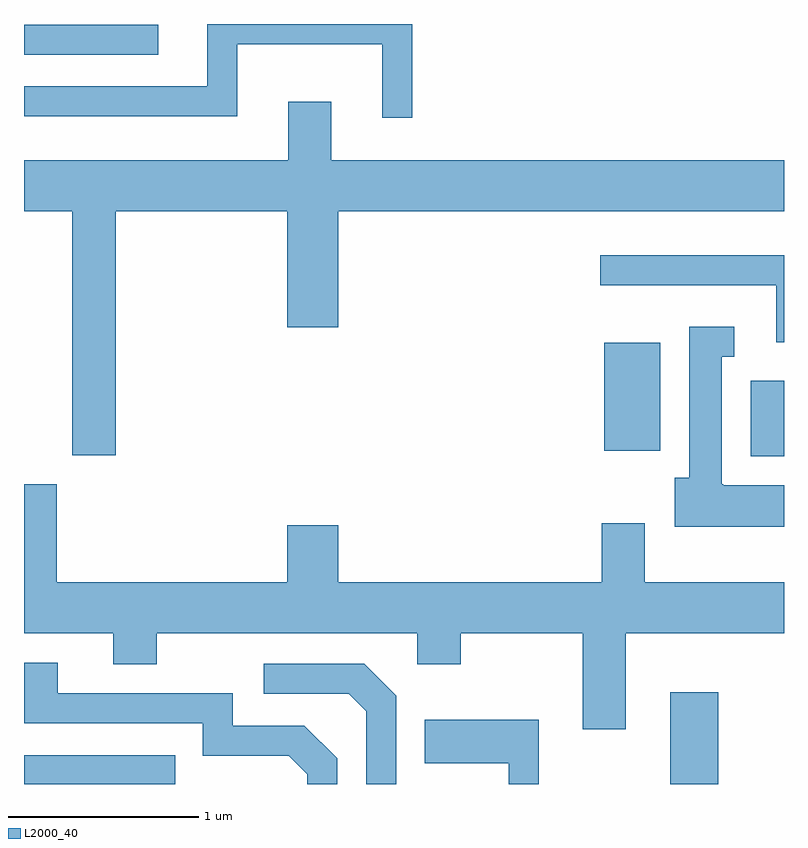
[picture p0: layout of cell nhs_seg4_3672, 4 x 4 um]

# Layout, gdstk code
import gdstk
lib = gdstk.Library(unit=1e-6, precision=1e-09)
def R(c, l, rs):  # rectangles x0, y0, x1, y1
    for r in rs: c.add(gdstk.rectangle(r[:2], r[2:], *l))
def P(c, l, *ps):  # polygons
    for p in ps: c.add(gdstk.Polygon(p, *l))
L2000_40 = (2000, 40)

nhs_seg4_3672 = lib.new_cell('nhs_seg4_3672')
R(nhs_seg4_3672, L2000_40, [(293.611,1253.982,294.408,1254.134), (297.011,1253.982,297.264,1254.464), (297.436,1255.706,297.611,1256.104), (296.666,1255.736,296.959,1256.304), (293.611,1257.821,294.318,1257.979)])
P(nhs_seg4_3672, L2000_40, [(295.654,1257.982),(294.576,1257.982),(294.576,1257.654),(293.613,1257.654),(293.613,1257.496),(294.734,1257.496),(294.734,1257.876),(295.496,1257.876),(295.496,1257.488),(295.654,1257.488)],
  [(294.094,1256.996),(294.996,1256.996),(294.996,1256.386),(295.264,1256.386),(295.264,1256.996),(297.611,1256.996),(297.611,1257.264),(295.229,1257.264),(295.229,1257.574),(295.001,1257.574),(295.001,1257.264),(293.611,1257.264),(293.611,1256.996),(293.866,1256.996),(293.866,1255.711),(294.094,1255.711)],
  [(297.611,1256.764),(296.643,1256.764),(296.643,1256.606),(297.571,1256.606),(297.571,1256.306),(297.611,1256.306)],
  [(297.611,1255.554),(297.29,1255.554),(297.29,1255.56),(297.284,1255.56),(297.284,1256.231),(297.348,1256.231),(297.348,1256.389),(297.111,1256.389),(297.111,1255.594),(297.036,1255.594),(297.036,1255.336),(297.611,1255.336)],
  [(296.779,1254.776),(297.611,1254.776),(297.611,1255.044),(296.879,1255.044),(296.879,1255.354),(296.651,1255.354),(296.651,1255.044),(295.264,1255.044),(295.264,1255.344),(294.996,1255.344),(294.996,1255.044),(293.784,1255.044),(293.784,1255.559),(293.611,1255.559),(293.611,1254.776),(294.081,1254.776),(294.081,1254.611),(294.309,1254.611),(294.309,1254.776),(295.681,1254.776),(295.681,1254.611),(295.909,1254.611),(295.909,1254.776),(296.551,1254.776),(296.551,1254.271),(296.779,1254.271)],
  [(295.259,1254.117),(295.087,1254.289),(294.709,1254.289),(294.709,1254.459),(293.789,1254.459),(293.789,1254.619),(293.611,1254.619),(293.611,1254.301),(294.551,1254.301),(294.551,1254.131),(295.004,1254.131),(295.101,1254.034),(295.101,1253.982),(295.259,1253.982)],
  [(295.569,1254.447),(295.402,1254.614),(294.873,1254.614),(294.873,1254.456),(295.319,1254.456),(295.411,1254.364),(295.411,1253.982),(295.569,1253.982)],
  [(296.319,1254.319),(295.721,1254.319),(295.721,1254.091),(296.161,1254.091),(296.161,1253.982),(296.319,1253.982)])

lib.write_gds('nhs_seg4_3672.gds')
